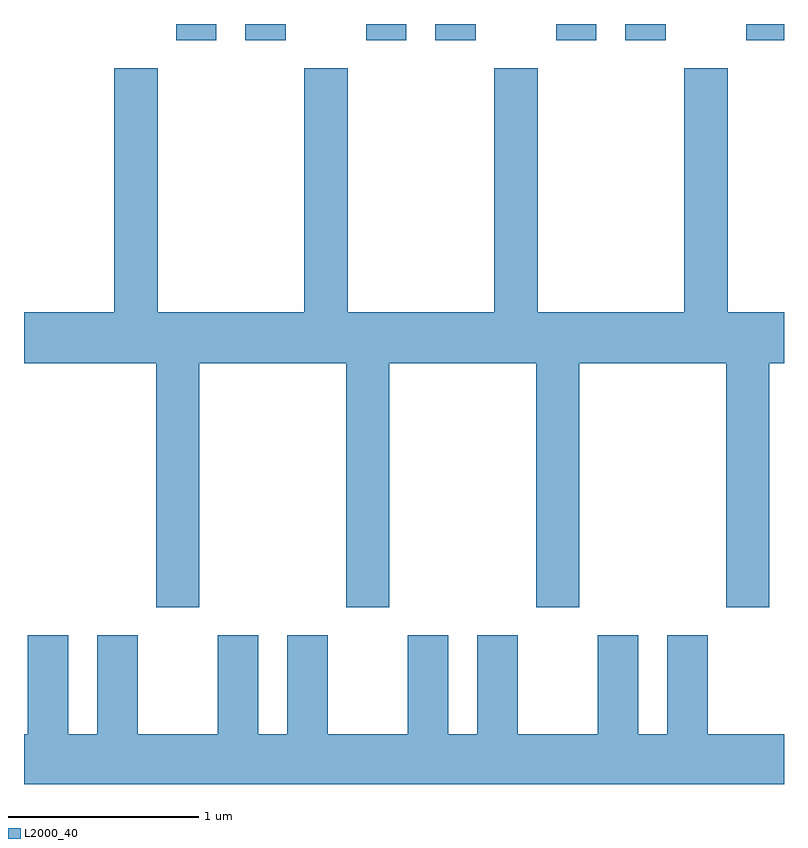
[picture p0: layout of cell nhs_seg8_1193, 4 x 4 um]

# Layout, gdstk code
import gdstk
lib = gdstk.Library(unit=1e-6, precision=1e-09)
def R(c, l, rs):  # rectangles x0, y0, x1, y1
    for r in rs: c.add(gdstk.rectangle(r[:2], r[2:], *l))
def P(c, l, *ps):  # polygons
    for p in ps: c.add(gdstk.Polygon(p, *l))
L2000_40 = (2000, 40)

nhs_seg8_1193 = lib.new_cell('nhs_seg8_1193')
R(nhs_seg8_1193, L2000_40, [(220.411,1920.256,220.624,1920.342), (220.776,1920.256,220.989,1920.342), (221.411,1920.256,221.624,1920.342), (221.776,1920.256,221.989,1920.342), (222.411,1920.256,222.624,1920.342), (222.776,1920.256,222.989,1920.342), (223.411,1920.256,223.611,1920.342)])
P(nhs_seg8_1193, L2000_40, [(220.314,1920.109),(220.086,1920.109),(220.086,1918.824),(219.611,1918.824),(219.611,1918.556),(220.306,1918.556),(220.306,1917.271),(220.534,1917.271),(220.534,1918.556),(221.306,1918.556),(221.306,1917.271),(221.534,1917.271),(221.534,1918.556),(222.306,1918.556),(222.306,1917.271),(222.534,1917.271),(222.534,1918.556),(223.306,1918.556),(223.306,1917.271),(223.534,1917.271),(223.534,1918.556),(223.611,1918.556),(223.611,1918.824),(223.314,1918.824),(223.314,1920.109),(223.086,1920.109),(223.086,1918.824),(222.314,1918.824),(222.314,1920.109),(222.086,1920.109),(222.086,1918.824),(221.314,1918.824),(221.314,1920.109),(221.086,1920.109),(221.086,1918.824),(220.314,1918.824)],
  [(223.611,1916.604),(223.209,1916.604),(223.209,1917.124),(222.996,1917.124),(222.996,1916.604),(222.844,1916.604),(222.844,1917.124),(222.631,1917.124),(222.631,1916.604),(222.209,1916.604),(222.209,1917.124),(221.996,1917.124),(221.996,1916.604),(221.844,1916.604),(221.844,1917.124),(221.631,1917.124),(221.631,1916.604),(221.209,1916.604),(221.209,1917.124),(220.996,1917.124),(220.996,1916.604),(220.844,1916.604),(220.844,1917.124),(220.631,1917.124),(220.631,1916.604),(220.209,1916.604),(220.209,1917.124),(219.996,1917.124),(219.996,1916.604),(219.844,1916.604),(219.844,1917.124),(219.631,1917.124),(219.631,1916.604),(219.611,1916.604),(219.611,1916.342),(223.611,1916.342)])

lib.write_gds('nhs_seg8_1193.gds')
